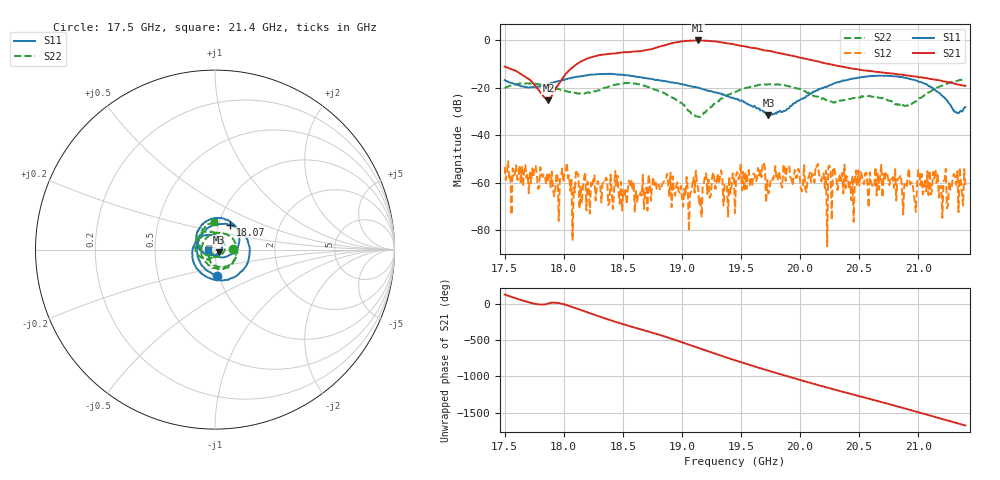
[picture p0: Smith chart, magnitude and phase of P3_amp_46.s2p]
!Created with skrf (http://scikit-rf.org).
# GHz S RI R 50.0
!freq ReS11 ImS11 ReS21 ImS21 ReS12 ImS12 ReS22 ImS22
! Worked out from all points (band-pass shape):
!   401 points, 17.5 GHz to 21.4 GHz, reference 50 ohm
!   highest |S21| = -0.08 dB at 19.14 GHz (marker M1); lowest = -25.2 dB at 17.87 GHz (marker M2)
!   |S21| within 3 dB of the highest: 18.79 GHz to 19.58 GHz (791.3 MHz wide, 4.13 % of centre)
!   lowest |S11| = -31.6 dB at 19.73 GHz (marker M3), VSWR 1.05, Z = 52.2 - j1.59 ohm
!   |S11| at or under -10 dB: start of sweep to end of sweep
!   |S22| runs from -32.4 to -16.2 dB; largest |S21 - S12| = 0.99
!   S11 on the Smith chart (normalised r, x): 17.5 GHz: 0.98, -0.29; 18.07 GHz: 1.13, +0.32; 21.4 GHz: 0.92, -0.00
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17.5  0.00976 -0.1445  -0.1566 0.2299  -0.00205 0.000651  0.0984 0.00111
17.8705  -0.0573 0.1053  0.0548 0.00099  0.000534 0.000919  0.0105 -0.1061
17.93875  -0.0152 0.134  0.0974 0.0194  0.00154 0.000409  -0.0261 -0.0936
18.0265  0.0515 0.1435  0.1905 -0.0776  0.000357 0.00261  -0.0621 -0.0563
18.0655  0.083 0.139  0.1856 -0.1752  0.00113 -0.000152  -0.0737 -0.0365
18.15325  0.1411 0.1042  -0.0205 -0.3615  0.000292 -0.000214  -0.0742 0.0176
18.319  0.1933 -0.0228  -0.4885 0.0683  -0.000236 0.000301  0.0105 0.0931
18.4945  0.1133 -0.1503  0.0876 0.5495  5.22e-07 0.000259  0.1221 0.0168
18.66025  -0.0199 -0.1639  0.5933 0.0116  0.00052 0.000121  0.067 -0.093
18.8065  -0.1064 -0.0973  0.2755 -0.674  -0.000896 -0.000179  -0.00803 -0.0848
18.904  -0.125 -0.0347  -0.4117 -0.7471  -0.00134 0.000921  -0.03 -0.0579
19.0015  -0.1158 0.027  -0.9429 -0.1047  -0.000201 -0.000427  -0.0336 -0.0329
19.138  -0.0636 0.0778  -0.3158 0.939  -0.000591 0.000447  -0.0136 -0.0204
19.30375  0.00467 0.077  0.8944 0.2626  -5.95e-05 0.00156  -0.0201 -0.0473
19.45  0.0342 0.0479  0.381 -0.7213  0.000124 -0.000192  -0.0645 -0.0485
19.684  0.0327 -0.0053  -0.6235 0.000244  0.00228 -0.000566  -0.1118 0.0357
19.73275  0.0215 -0.0152  -0.551 0.2345  0.000456 -0.000375  -0.1027 0.0584
19.879  -0.0101 -0.0315  0.038 0.4998  -0.000363 -0.00103  -0.0468 0.0996
20.10325  -0.0787 -0.00702  0.3578 -0.1252  -0.00145 -0.000601  0.0147 0.0692
20.425  -0.0802 0.1288  -0.2436 -0.08  -0.000996 0.000228  0.0169 0.0554
20.7565  0.0858 0.155  0.117 0.1646  -0.000101 0.00088  0.0535 -0.00465
21.4  -0.039 -0.00155  -0.0574 0.0931  -0.000884 -0.000154  -0.00723 0.1545
